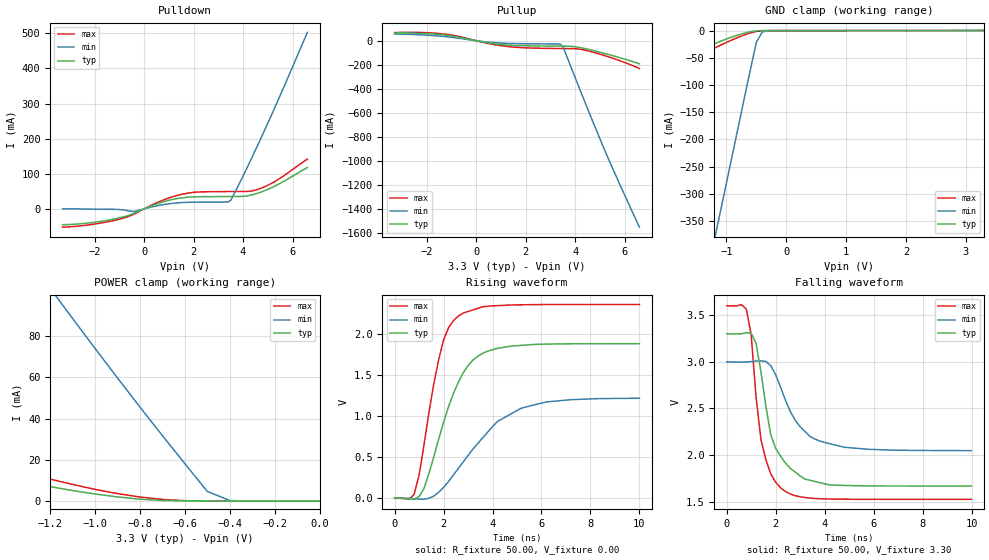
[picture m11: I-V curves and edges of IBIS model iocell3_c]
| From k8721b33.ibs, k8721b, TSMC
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|   Model iocell3_c
[Model]   iocell3_c
Model_type   I/O
Polarity   Non-Inverting
Enable   Active-Low
Vinl =   0.80V
Vinh =   2.00V
Vmeas =  1.50V
C_comp   6.07e-12F   7.27e-12F   6.05e-12F
[Temperature Range]   25   125   0
[Voltage Range]   3.30V   3.00V   3.60V
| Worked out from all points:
|   slope of the pulldown table from 0 to 0.495 V, typ, clamps not added: 36.1 ohm
|   slope of the pullup table from 0 to 0.495 V, typ, clamps not added: 27.5 ohm
|   GND clamp passes 1 mA (typ) near -0.53 V on its own axis
|   POWER clamp passes 1 mA (typ) near -0.79 V on its own axis
|   rising waveform, R_fixture 50.00, V_fixture 0.00: 20-80 % time 1.29ns typ, 2.14ns min, 863ps max; typ from 0 V to 1.88 V
|   falling waveform, R_fixture 50.00, V_fixture 3.30: 20-80 % time 838ps typ, 1.18ns min, 581ps max; typ from 3.3 V to 1.67 V
[POWER_clamp]
| voltage   I(typ)   I(min)   I(max)
-3.3V     67.85mA    428.2mA    82mA
-2.7V     49.48mA    333.3mA    62.07mA
-1.9V     25.09mA    208.6mA    33.57mA
-1.5V     14.09mA    147.7mA    19.87mA
-1.2V     7.154mA    103mA      10.8mA
-1.1V     5.229mA    88.41mA    8.179mA
-900mV    2.143mA    59.64mA    3.753mA
-800mV    1.069mA    45.57mA    2.112mA
-700mV    436.1uA    31.77mA    930.3uA
-500mV    157.2uA    4.787mA    178.5uA
-400mV    148.2uA    401.7uA    160.7uA
0V        132uA      120uA      144uA
[GND_clamp]
| voltage   I(typ)   I(min)   I(max)
-3.3V     -124.4mA   -1.386A    -146mA
-2.5V     -87.31mA   -1.028A    -105.1mA
-1.2V     -24.02mA   -384mA     -32.24mA
-1.1V     -19.61mA   -332.3mA   -26.9mA
-700mV    -4.635mA   -123.6mA   -7.989mA
-500mV    -521.1uA   -21.65mA   -1.642mA
-400mV    -66.19uA   -2.432mA   -282.7uA
-200mV    -8.122uA   -17.62uA   -8.543uA
3.3V      132uA      146.6uA    132uA
[Pullup]
| voltage   I(typ)   I(min)   I(max)
-3.3V     64.17mA    56.33mA    68.31mA
-1.5V     52.47mA    38.76mA    60.12mA
-800mV    33.68mA    23.36mA    40.29mA
400mV     -14.86mA   -9.563mA   -19.02mA
1.2V      -34.57mA   -21.4mA    -46.18mA
2V        -41.94mA   -24.84mA   -59.11mA
3.4V      -45.08mA   -28.77mA   -64.8mA
3.5V      -45.21mA   -47.52mA   -65.01mA
4.1V      -53.62mA   -358.4mA   -67.64mA
4.6V      -75.1mA    -615.3mA   -88.67mA
5.4V      -117.4mA   -1.01A     -137.5mA
6.6V      -192.5mA   -1.553A    -231.4mA
[Pulldown]
| voltage   I(typ)   I(min)   I(max)
-3.3V     -44.97mA   -85uA      -52.15mA
-2.1V     -39.03mA   -878.2uA   -44.3mA
-900mV    -24mA      -2.509mA   -27.45mA
-400mV    -12.39mA   -7.38mA    -14.81mA
700mV     18.41mA    11.08mA    23.08mA
1.6V      32.02mA    18.2mA     42.54mA
3.4V      35.18mA    19.86mA    49.3mA
3.5V      35.21mA    24.14mA    49.34mA
4.3V      38.81mA    137.3mA    50.39mA
4.8V      49.76mA    212.9mA    60.71mA
5.5V      72.69mA    322.9mA    87.35mA
6.6V      117.6mA    502.9mA    141.5mA
[Ramp]
| variable   typ   min   max
dV/dt_r   0.93/1.10e-09   0.57/1.65e-09   1.22/7.86e-10
dV/dt_f   0.99/8.23e-10   0.58/1.17e-09   1.25/5.76e-10
R_load = 50.00
[Rising Waveform]
R_fixture = 50.00
V_fixture = 0.00
V_fixture_min = 0.00
V_fixture_max = 0.00
| time   V(typ)   V(min)   V(max)
0s        0V         0V         0V
800ps     -11.91mV   -5.832mV   49.46mV
1ns       21.86mV    -9.758mV   281.6mV
1.2ns     119.2mV    -11.95mV   647.1mV
1.6ns     503.2mV    26.5mV     1.393V
2ns       925mV      132.8mV    1.927V
2.6ns     1.411V     362.1mV    2.217V
3.6ns     1.765V     735.5mV    2.332V
5.2ns     1.862V     1.099V     2.356V
10ns      1.882V     1.218V     2.359V
[Falling Waveform]
R_fixture = 50.00
V_fixture = 3.30
V_fixture_min = 3.00
V_fixture_max = 3.60
| time   V(typ)   V(min)   V(max)
0s        3.3V       3V         3.6V
800ps     3.312V     2.998V     3.566V
1ns       3.307V     3.003V     3.291V
1.2ns     3.196V     3.008V     2.62V
1.4ns     2.892V     3.01V      2.166V
1.8ns     2.219V     2.959V     1.8V
2.2ns     1.988V     2.729V     1.65V
2.8ns     1.817V     2.374V     1.565V
3.8ns     1.705V     2.152V     1.533V
10ns      1.669V     2.048V     1.526V
